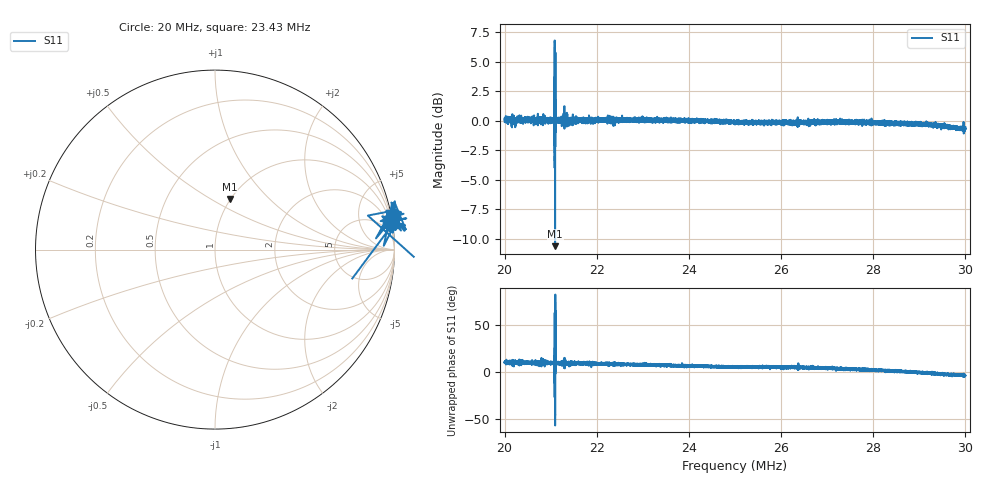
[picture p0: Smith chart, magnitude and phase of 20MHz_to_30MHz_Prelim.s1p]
# HZ S RI R 50
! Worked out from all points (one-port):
!   20200 points, 20 MHz to 30 MHz, reference 50 ohm
!   lowest |S11| = -10.6 dB at 21.1 MHz (marker M1), VSWR 1.83, Z = 49.4 + j30.5 ohm
!   |S11| at or under -10 dB: 21.0959 MHz to 21.09595 MHz (56.32 Hz wide, 0.000267 % of centre)
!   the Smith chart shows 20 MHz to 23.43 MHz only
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2e7  0.9764 0.1727
2.012326e7  0.9924 0.1933
2.103158e7  0.9898 0.1548
2.104098e7  0.984 0.1768
2.104346e7  1.012 0.1661
2.104494e7  0.9966 0.1558
2.104692e7  0.9824 0.1806
2.10499e7  1.001 0.1787
2.105039e7  0.9952 0.1433
2.105534e7  0.9943 0.1642
2.109593e7  0.081 0.2823
2.113504e7  0.9984 0.1739
2.114147e7  0.9999 0.1723
2.114394e7  0.9969 0.1637
2.114741e7  0.9888 0.1588
2.115038e7  1.005 0.1757
2.115088e7  0.9889 0.162
2.115632e7  0.9858 0.1613
2.124988e7  0.9968 0.1811
2.249975e7  0.9734 0.1465
2.374962e7  1.003 0.097
2.49995e7  0.9807 0.0908
2.624938e7  0.9584 0.0856
2.749925e7  0.975 0.0478
2.874912e7  0.9678 -0.0127
2.930303e7  0.9504 -0.0177
2.992772e7  0.9172 -0.056
2.99985e7  0.9348 -0.0639
